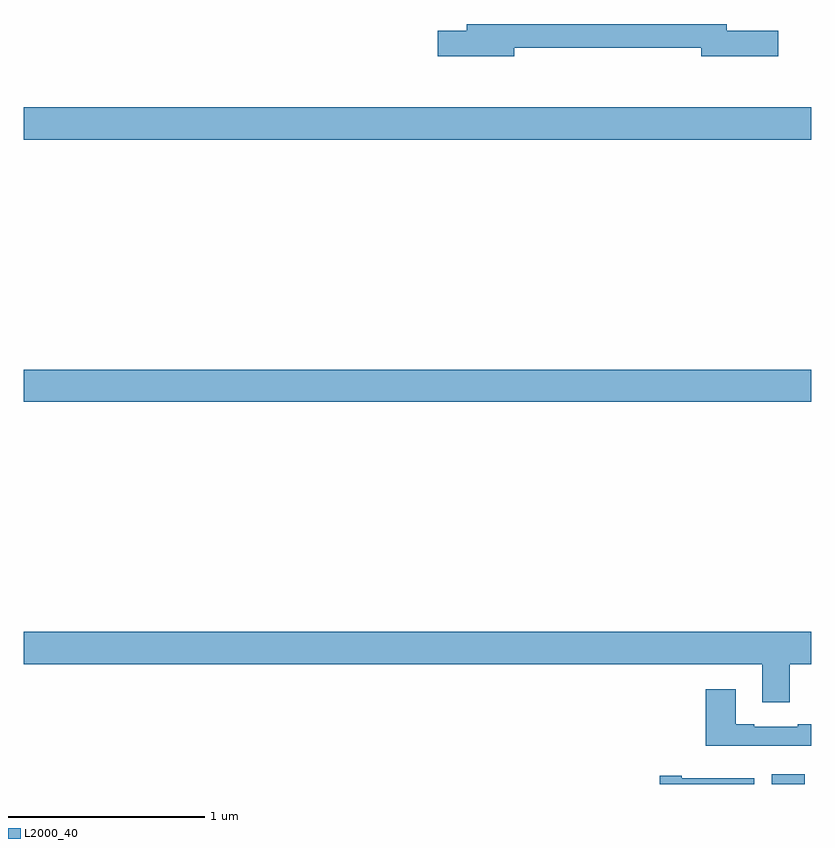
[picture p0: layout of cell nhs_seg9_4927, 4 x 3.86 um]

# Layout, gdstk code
import gdstk
lib = gdstk.Library(unit=1e-6, precision=1e-09)
def R(c, l, rs):  # rectangles x0, y0, x1, y1
    for r in rs: c.add(gdstk.rectangle(r[:2], r[2:], *l))
def P(c, l, *ps):  # polygons
    for p in ps: c.add(gdstk.Polygon(p, *l))
L2000_40 = (2000, 40)

nhs_seg9_4927 = lib.new_cell('nhs_seg9_4927')
R(nhs_seg9_4927, L2000_40, [(400.799,1174.5,400.966,1174.549), (397,1176.44,401,1176.604), (397,1177.772,401,1177.936)])
P(nhs_seg9_4927, L2000_40, [(399.49,1178.238),(400.442,1178.238),(400.442,1178.195),(400.831,1178.195),(400.831,1178.325),(400.57,1178.325),(400.57,1178.359),(399.251,1178.359),(399.251,1178.325),(399.102,1178.325),(399.102,1178.195),(399.49,1178.195)],
  [(400.891,1175.108),(401,1175.108),(401,1175.272),(397,1175.272),(397,1175.108),(400.751,1175.108),(400.751,1174.914),(400.891,1174.914)],
  [(401,1174.804),(400.931,1174.804),(400.931,1174.791),(400.711,1174.791),(400.711,1174.804),(400.615,1174.804),(400.615,1174.981),(400.463,1174.981),(400.463,1174.694),(401,1174.694)],
  [(400.711,1174.528),(400.342,1174.528),(400.342,1174.541),(400.23,1174.541),(400.23,1174.5),(400.711,1174.5)])

lib.write_gds('nhs_seg9_4927.gds')
